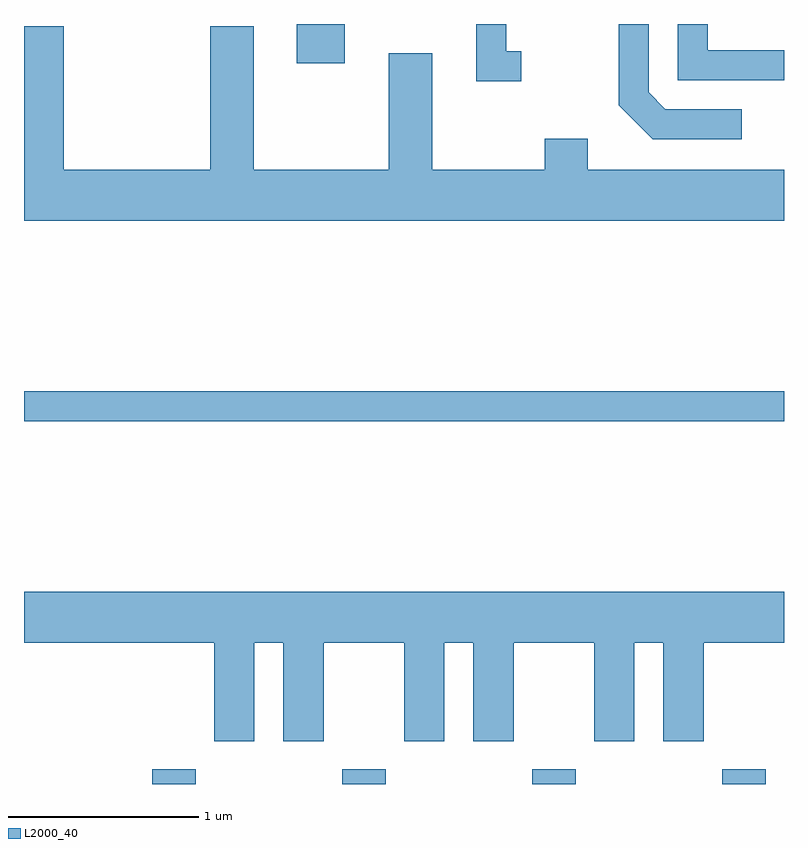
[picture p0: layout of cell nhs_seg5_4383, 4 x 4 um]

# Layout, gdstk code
import gdstk
lib = gdstk.Library(unit=1e-6, precision=1e-09)
def R(c, l, rs):  # rectangles x0, y0, x1, y1
    for r in rs: c.add(gdstk.rectangle(r[:2], r[2:], *l))
def A(c, l, x, y, w, h, nx, ny, dx, dy):  # array of equal rectangles
    R(c, l, [(x+i*dx, y+j*dy, x+i*dx+w, y+j*dy+h) for i in range(nx) for j in range(ny)])
def P(c, l, *ps):  # polygons
    for p in ps: c.add(gdstk.Polygon(p, *l))
L2000_40 = (2000, 40)

nhs_seg5_4383 = lib.new_cell('nhs_seg5_4383')
A(nhs_seg5_4383, L2000_40, 316.286, 1436.072, 0.228, 0.077, 4, 1, 1, 0)
R(nhs_seg5_4383, L2000_40, [(315.611,1437.981,319.611,1438.139), (317.046,1439.866,317.299,1440.072)])
P(nhs_seg5_4383, L2000_40, [(318.228,1439.929),(318.149,1439.929),(318.149,1440.072),(317.991,1440.072),(317.991,1439.771),(318.228,1439.771)],
  [(319.388,1439.624),(318.987,1439.624),(318.899,1439.712),(318.899,1440.072),(318.741,1440.072),(318.741,1439.644),(318.919,1439.466),(319.388,1439.466)],
  [(319.611,1439.934),(319.209,1439.934),(319.209,1440.072),(319.051,1440.072),(319.051,1439.776),(319.611,1439.776)],
  [(319.611,1439.304),(318.579,1439.304),(318.579,1439.469),(318.351,1439.469),(318.351,1439.304),(317.759,1439.304),(317.759,1439.919),(317.531,1439.919),(317.531,1439.304),(316.819,1439.304),(316.819,1440.059),(316.591,1440.059),(316.591,1439.304),(315.819,1439.304),(315.819,1440.059),(315.611,1440.059),(315.611,1439.036),(319.611,1439.036)],
  [(316.824,1436.816),(316.976,1436.816),(316.976,1436.296),(317.189,1436.296),(317.189,1436.816),(317.611,1436.816),(317.611,1436.296),(317.824,1436.296),(317.824,1436.816),(317.976,1436.816),(317.976,1436.296),(318.189,1436.296),(318.189,1436.816),(318.611,1436.816),(318.611,1436.296),(318.824,1436.296),(318.824,1436.816),(318.976,1436.816),(318.976,1436.296),(319.189,1436.296),(319.189,1436.816),(319.611,1436.816),(319.611,1437.084),(315.611,1437.084),(315.611,1436.816),(316.611,1436.816),(316.611,1436.296),(316.824,1436.296)])

lib.write_gds('nhs_seg5_4383.gds')
